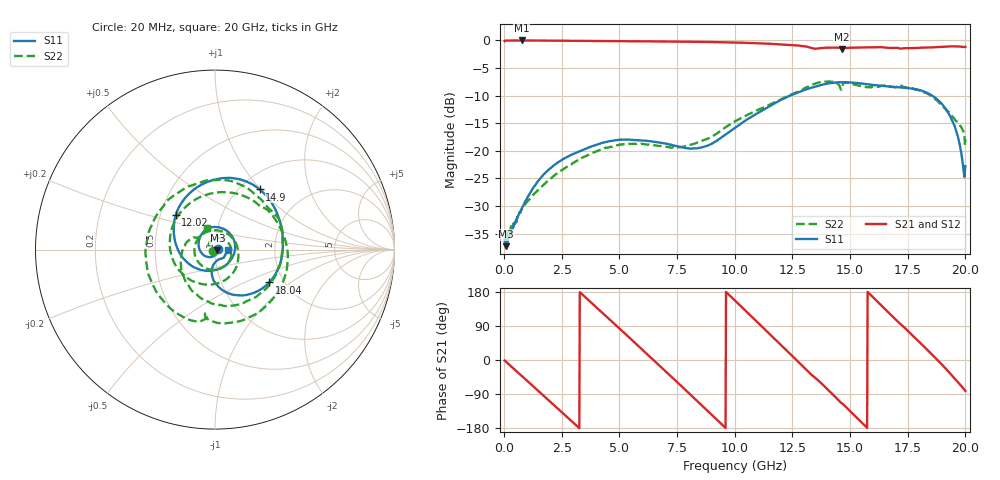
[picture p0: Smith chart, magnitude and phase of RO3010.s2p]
! S-Parameters Coax/SMA to Microstrip (MS) connector for Rogers RO3010 substrate
! Port 1 is the SMA port, port 2 the MS port
! It is recommended to connect the provided S-parameter files on all ports of your structure,
! without any tapering or shortening of the microstrip line.
! Freq	ReS11	ImS11	ReS21	ImS21	ReS12	ImS12	ReS22	ImS22
# GHz S RI R 50
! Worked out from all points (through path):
!   1000 points, 20 MHz to 20 GHz, reference 50 ohm
!   highest |S21| = 0.00 dB at 760 MHz (marker M1); lowest = -1.6 dB at 14.64 GHz (marker M2)
!   group delay of S21, straight-line fit = 161 ps
!   lowest |S11| = -37.3 dB at 80 MHz (marker M3), VSWR 1.03, Z = 51.4 - j0.326 ohm
!   |S11| at or under -10 dB: start of sweep to 12.39 GHz; 18.56 GHz to end of sweep
!   |S22| runs from -37.0 to -7.4 dB; largest |S21 - S12| = 0
!   S11 on the Smith chart (normalised r, x): 20 MHz: 1.03, +0.01; 12.02 GHz: 0.60, +0.25; 14.9 GHz: 1.22, +0.99; 18.04 GHz: 1.68, -0.71; 20 GHz: 1.16, +0.00
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0.02  0.0156 0.00346  0.9853 -0.0266  0.9853 -0.0266  -0.012 -0.00738
0.08  0.0133 -0.00317  0.9928 -0.0803  0.9928 -0.0803  -0.015 -0.00346
0.76  0.0021 -0.03  0.7449 -0.6668  0.7449 -0.6668  -0.0295 -0.000676
1.96  -0.06 -0.0331  -0.3072 -0.9474  -0.3072 -0.9474  -0.0232 0.05
3.36  -0.0902 0.0453  -0.9863 0.0939  -0.9863 0.0939  0.082 0.0271
4.96  -0.0156 0.1249  0.0791 0.9808  0.0791 0.9808  -0.0122 -0.1121
5.92  0.0575 0.1105  0.8369 0.5139  0.8369 0.5139  -0.1114 -0.0315
6.68  0.1001 0.0654  0.96 -0.1943  0.96 -0.1943  -0.0864 0.0696
7.52  0.1091 -0.0129  0.498 -0.8393  0.498 -0.8393  0.015 0.1073
8.24  0.0704 -0.0783  -0.1776 -0.9558  -0.1776 -0.9558  0.0963 0.0648
9.2  -0.0329 -0.1183  -0.8815 -0.3933  -0.8815 -0.3933  0.1278 -0.063
10.02  -0.1385 -0.0845  -0.8771 0.3863  -0.8771 0.3863  0.0276 -0.1836
11.04  -0.2205 0.036  -0.1077 0.9352  -0.1077 0.9352  -0.2216 -0.084
12.02  -0.2193 0.1915  0.7183 0.5778  0.7183 0.5778  -0.1372 0.2602
13.34  -0.0611 0.3688  0.6559 -0.5432  0.6559 -0.5432  0.3923 0.0505
14.64  0.2042 0.3659  -0.3446 -0.7599  -0.3446 -0.7599  -0.0423 -0.364
14.9  0.2496 0.3351  -0.5381 -0.6679  -0.5381 -0.6679  -0.227 -0.345
15.78  0.346 0.2024  -0.865 0.0224  -0.865 0.0224  -0.3352 0.1749
16.68  0.3777 0.0596  -0.4839 0.7065  -0.4839 0.7065  0.1741 0.3453
18.04  0.3032 -0.1831  0.6028 0.6103  0.6028 0.6103  0.2404 -0.254
19.02  0.0842 -0.247  0.848 -0.2178  0.848 -0.2178  -0.141 -0.2101
20  0.0728 0  0.1282 -0.8642  0.1282 -0.8642  -0.0465 0.1184
